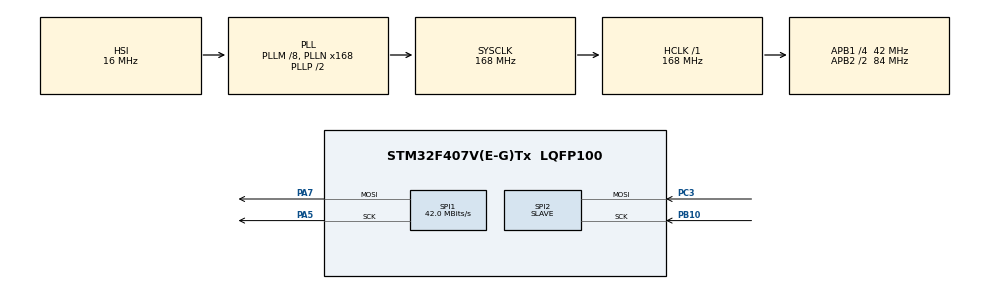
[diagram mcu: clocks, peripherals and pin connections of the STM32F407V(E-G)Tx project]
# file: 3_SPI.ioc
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Mcu.Family=STM32F4
Mcu.Name=STM32F407V(E-G)Tx
Mcu.Package=LQFP100
NVIC.PriorityGroup=NVIC_PRIORITYGROUP_4
NVIC.SPI1_IRQn=true\:0\:0\:true\:false\:true\:true\:true\:true
NVIC.SPI2_IRQn=true\:0\:0\:true\:false\:true\:true\:true\:true
PA5.Mode=TX_Only_Simplex_Unidirect_Master
PA5.Signal=SPI1_SCK
PA7.Mode=TX_Only_Simplex_Unidirect_Master
PA7.Signal=SPI1_MOSI
PB10.Mode=RX_Only_Simplex_Unidirect_Slave
PB10.Signal=SPI2_SCK
PC3.Mode=RX_Only_Simplex_Unidirect_Slave
PC3.Signal=SPI2_MOSI
ProjectManager.HeapSize=0x200
ProjectManager.StackSize=0x400
ProjectManager.TargetToolchain=STM32CubeIDE
RCC.48MHZClocksFreq_Value=84000000
RCC.AHBFreq_Value=168000000
RCC.APB1CLKDivider=RCC_HCLK_DIV4
RCC.APB1Freq_Value=42000000
RCC.APB1TimFreq_Value=84000000
RCC.APB2CLKDivider=RCC_HCLK_DIV2
RCC.APB2Freq_Value=84000000
RCC.APB2TimFreq_Value=168000000
RCC.CortexFreq_Value=168000000
RCC.HCLKFreq_Value=168000000
RCC.HSE_VALUE=25000000
RCC.HSI_VALUE=16000000
RCC.LSE_VALUE=32768
RCC.PLLM=8
RCC.PLLN=168
RCC.SYSCLKFreq_VALUE=168000000
RCC.SYSCLKSource=RCC_SYSCLKSOURCE_PLLCLK
RCC.VCOOutputFreq_Value=336000000
SPI1.CalculateBaudRate=42.0 MBits/s
SPI1.Direction=SPI_DIRECTION_2LINES
SPI1.Mode=SPI_MODE_MASTER
SPI1.VirtualType=VM_MASTER
SPI2.Direction=SPI_DIRECTION_2LINES_RXONLY
SPI2.Mode=SPI_MODE_SLAVE
SPI2.VirtualType=VM_SLAVE
board=custom

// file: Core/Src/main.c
/* USER CODE BEGIN Header */
/**
 ******************************************************************************
 * @file           : main.c
 * @brief          : Main program body
 ******************************************************************************
 * @attention
 *
 * Copyright (c) 2025 STMicroelectronics.
 * All rights reserved.
 *
 * This software is licensed under terms that can be found in the LICENSE file
 * in the root directory of this software component.
 * If no LICENSE file comes with this software, it is provided AS-IS.
 *
 ******************************************************************************
 */
/* USER CODE END Header */
#include "main.h"

/* USER CODE BEGIN Includes */
#include <stdbool.h>
/* USER CODE END Includes */

SPI_HandleTypeDef hspi1;
SPI_HandleTypeDef hspi2;

void SystemClock_Config(void);
static void MX_GPIO_Init(void);
static void MX_SPI1_Init(void);
static void MX_SPI2_Init(void);
/* USER CODE BEGIN PFP */
void HAL_SPI_TxCpltCallback(SPI_HandleTypeDef *hspi);
void HAL_SPI_RxCpltCallback(SPI_HandleTypeDef *hspi);
/* USER CODE END PFP */

/* USER CODE BEGIN 0 */
uint8_t rx_flag = 0;
uint8_t tx_flag = 0;
/* USER CODE END 0 */

int main(void) {

	/* MCU Configuration--------------------------------------------------------*/

	/* Reset of all peripherals, Initializes the Flash interface and the Systick. */
	HAL_Init();

	/* Configure the system clock */
	SystemClock_Config();

	/* Initialize all configured peripherals */
	MX_GPIO_Init();
	MX_SPI1_Init();
	MX_SPI2_Init();
	/* USER CODE BEGIN 2 */

	uint8_t tx_buf[] = "hello_from_mars";
	uint8_t rx_buf[20] = { 0 };
	HAL_SPI_Receive_IT(&hspi2, rx_buf, sizeof(rx_buf));
	HAL_SPI_Transmit(&hspi1, tx_buf, sizeof(tx_buf), 1);
	/* USER CODE END 2 */

	/* Infinite loop */
	while (1) {

	}
}

void SystemClock_Config(void) {
	RCC_OscInitTypeDef RCC_OscInitStruct = { 0 };
	RCC_ClkInitTypeDef RCC_ClkInitStruct = { 0 };

	/** Configure the main internal regulator output voltage
	 */
	__HAL_RCC_PWR_CLK_ENABLE();
	__HAL_PWR_VOLTAGESCALING_CONFIG(PWR_REGULATOR_VOLTAGE_SCALE1);

	/** Initializes the RCC Oscillators according to the specified parameters
	 * in the RCC_OscInitTypeDef structure.
	 */
	RCC_OscInitStruct.OscillatorType = RCC_OSCILLATORTYPE_HSI;
	RCC_OscInitStruct.HSIState = RCC_HSI_ON;
	RCC_OscInitStruct.HSICalibrationValue = RCC_HSICALIBRATION_DEFAULT;
	RCC_OscInitStruct.PLL.PLLState = RCC_PLL_ON;
	RCC_OscInitStruct.PLL.PLLSource = RCC_PLLSOURCE_HSI;
	RCC_OscInitStruct.PLL.PLLM = 8;
	RCC_OscInitStruct.PLL.PLLN = 168;
	RCC_OscInitStruct.PLL.PLLP = RCC_PLLP_DIV2;
	RCC_OscInitStruct.PLL.PLLQ = 4;
	if (HAL_RCC_OscConfig(&RCC_OscInitStruct) != HAL_OK) {
		Error_Handler();
	}

	/** Initializes the CPU, AHB and APB buses clocks
	 */
	RCC_ClkInitStruct.ClockType = RCC_CLOCKTYPE_HCLK | RCC_CLOCKTYPE_SYSCLK
			| RCC_CLOCKTYPE_PCLK1 | RCC_CLOCKTYPE_PCLK2;
	RCC_ClkInitStruct.SYSCLKSource = RCC_SYSCLKSOURCE_PLLCLK;
	RCC_ClkInitStruct.AHBCLKDivider = RCC_SYSCLK_DIV1;
	RCC_ClkInitStruct.APB1CLKDivider = RCC_HCLK_DIV4;
	RCC_ClkInitStruct.APB2CLKDivider = RCC_HCLK_DIV2;

	if (HAL_RCC_ClockConfig(&RCC_ClkInitStruct, FLASH_LATENCY_5) != HAL_OK) {
		Error_Handler();
	}
}

static void MX_SPI1_Init(void) {

	/* SPI1 parameter configuration*/
	hspi1.Instance = SPI1;
	hspi1.Init.Mode = SPI_MODE_MASTER;
	hspi1.Init.Direction = SPI_DIRECTION_2LINES;
	hspi1.Init.DataSize = SPI_DATASIZE_8BIT;
	hspi1.Init.CLKPolarity = SPI_POLARITY_LOW;
	hspi1.Init.CLKPhase = SPI_PHASE_1EDGE;
	hspi1.Init.NSS = SPI_NSS_SOFT;
	hspi1.Init.BaudRatePrescaler = SPI_BAUDRATEPRESCALER_2;
	hspi1.Init.FirstBit = SPI_FIRSTBIT_MSB;
	hspi1.Init.TIMode = SPI_TIMODE_DISABLE;
	hspi1.Init.CRCCalculation = SPI_CRCCALCULATION_DISABLE;
	hspi1.Init.CRCPolynomial = 10;
	if (HAL_SPI_Init(&hspi1) != HAL_OK) {
		Error_Handler();
	}

}

static void MX_SPI2_Init(void) {

	/* SPI2 parameter configuration*/
	hspi2.Instance = SPI2;
	hspi2.Init.Mode = SPI_MODE_SLAVE;
	hspi2.Init.Direction = SPI_DIRECTION_2LINES_RXONLY;
	hspi2.Init.DataSize = SPI_DATASIZE_8BIT;
	hspi2.Init.CLKPolarity = SPI_POLARITY_LOW;
	hspi2.Init.CLKPhase = SPI_PHASE_1EDGE;
	hspi2.Init.NSS = SPI_NSS_SOFT;
	hspi2.Init.FirstBit = SPI_FIRSTBIT_MSB;
	hspi2.Init.TIMode = SPI_TIMODE_DISABLE;
	hspi2.Init.CRCCalculation = SPI_CRCCALCULATION_DISABLE;
	hspi2.Init.CRCPolynomial = 10;
	if (HAL_SPI_Init(&hspi2) != HAL_OK) {
		Error_Handler();
	}

}

static void MX_GPIO_Init(void) {

	/* GPIO Ports Clock Enable */
	__HAL_RCC_GPIOC_CLK_ENABLE();
	__HAL_RCC_GPIOA_CLK_ENABLE();
	__HAL_RCC_GPIOB_CLK_ENABLE();

}

/* USER CODE BEGIN 4 */
void HAL_SPI_TxCpltCallback(SPI_HandleTypeDef *hspi) {
	if (hspi == &hspi1) {
		tx_flag = 1;
	}
}
//void HAL_SPI_RxCpltCallback(SPI_HandleTypeDef *hspi){

void HAL_SPI_RxCpltCallback(SPI_HandleTypeDef *hspi) {
	if (hspi == &hspi2) {
		rx_flag = 1;
	}
//void HAL_SPI_RxCpltCallback(SPI_HandleTypeDef *hspi){

}
/* USER CODE END 4 */

void Error_Handler(void) {
	__disable_irq();
	while (1) {
	}
}
